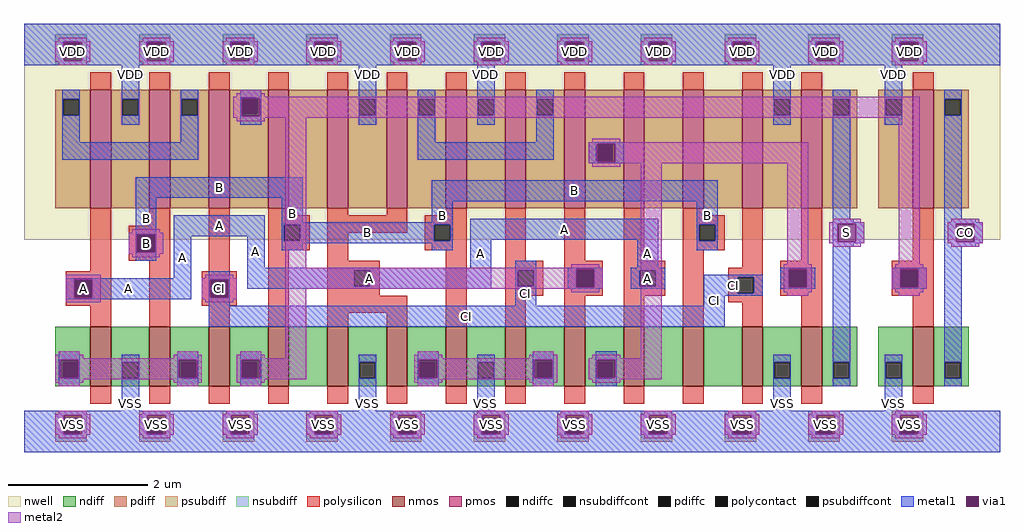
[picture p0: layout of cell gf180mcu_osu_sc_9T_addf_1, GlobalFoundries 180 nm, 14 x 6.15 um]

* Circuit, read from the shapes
.subckt gf180mcu_osu_sc_9T_addf_1 A B CI S CO VDD VSS
XM1 VSS A n1 VSS nfet_03v3 w=0.85u l=0.3u
XM2 n1 B VSS VSS nfet_03v3 w=0.85u l=0.3u
XM3 n2 CI n1 VSS nfet_03v3 w=0.85u l=0.3u
XM4 n3 B n2 VSS nfet_03v3 w=0.85u l=0.3u
XM5 VSS A n3 VSS nfet_03v3 w=0.85u l=0.3u
XM6 n4 A VSS VSS nfet_03v3 w=0.85u l=0.3u
XM7 VSS B n4 VSS nfet_03v3 w=0.85u l=0.3u
XM8 n4 CI VSS VSS nfet_03v3 w=0.85u l=0.3u
XM9 n5 n2 n4 VSS nfet_03v3 w=0.85u l=0.3u
XM10 n6 A n5 VSS nfet_03v3 w=0.85u l=0.3u
XM11 n7 B n6 VSS nfet_03v3 w=0.85u l=0.3u
XM12 VSS CI n7 VSS nfet_03v3 w=0.85u l=0.3u
XM13 S n5 VSS VSS nfet_03v3 w=0.85u l=0.3u
XM14 CO n2 VSS VSS nfet_03v3 w=0.85u l=0.3u
XM15 VDD A n8 VDD pfet_03v3 w=1.7u l=0.3u
XM16 n8 B VDD VDD pfet_03v3 w=1.7u l=0.3u
XM17 n2 CI n8 VDD pfet_03v3 w=1.7u l=0.3u
XM18 n9 B n2 VDD pfet_03v3 w=1.7u l=0.3u
XM19 VDD A n9 VDD pfet_03v3 w=1.7u l=0.3u
XM20 n10 A VDD VDD pfet_03v3 w=1.7u l=0.3u
XM21 VDD B n10 VDD pfet_03v3 w=1.7u l=0.3u
XM22 n10 CI VDD VDD pfet_03v3 w=1.7u l=0.3u
XM23 n5 n2 n10 VDD pfet_03v3 w=1.7u l=0.3u
XM24 n11 A n5 VDD pfet_03v3 w=1.7u l=0.3u
XM25 n12 B n11 VDD pfet_03v3 w=1.7u l=0.3u
XM26 VDD CI n12 VDD pfet_03v3 w=1.7u l=0.3u
XM27 S n5 VDD VDD pfet_03v3 w=1.7u l=0.3u
XM28 CO n2 VDD VDD pfet_03v3 w=1.7u l=0.3u
.ends

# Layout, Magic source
magic
tech gf180mcuB
magscale 1 10
<< nwell >>
rect 0 610 2800 1230
<< nmos >>
rect 190 190 250 360
rect 360 190 420 360
rect 530 190 590 360
rect 700 190 760 360
rect 870 190 930 360
rect 1040 190 1100 360
rect 1210 190 1270 360
rect 1380 190 1440 360
rect 1550 190 1610 360
rect 1720 190 1780 360
rect 1890 190 1950 360
rect 2060 190 2120 360
rect 2230 190 2290 360
rect 2550 190 2610 360
<< pmos >>
rect 190 700 250 1040
rect 360 700 420 1040
rect 530 700 590 1040
rect 700 700 760 1040
rect 870 700 930 1040
rect 1040 700 1100 1040
rect 1210 700 1270 1040
rect 1380 700 1440 1040
rect 1550 700 1610 1040
rect 1720 700 1780 1040
rect 1890 700 1950 1040
rect 2060 700 2120 1040
rect 2230 700 2290 1040
rect 2550 700 2610 1040
<< ndiff >>
rect 90 258 190 360
rect 90 212 112 258
rect 158 212 190 258
rect 90 190 190 212
rect 250 258 360 360
rect 250 212 282 258
rect 328 212 360 258
rect 250 190 360 212
rect 420 258 530 360
rect 420 212 452 258
rect 498 212 530 258
rect 420 190 530 212
rect 590 258 700 360
rect 590 212 622 258
rect 668 212 700 258
rect 590 190 700 212
rect 760 190 870 360
rect 930 258 1040 360
rect 930 212 962 258
rect 1008 212 1040 258
rect 930 190 1040 212
rect 1100 258 1210 360
rect 1100 212 1132 258
rect 1178 212 1210 258
rect 1100 190 1210 212
rect 1270 258 1380 360
rect 1270 212 1302 258
rect 1348 212 1380 258
rect 1270 190 1380 212
rect 1440 258 1550 360
rect 1440 212 1472 258
rect 1518 212 1550 258
rect 1440 190 1550 212
rect 1610 258 1720 360
rect 1610 212 1642 258
rect 1688 212 1720 258
rect 1610 190 1720 212
rect 1780 190 1890 360
rect 1950 190 2060 360
rect 2120 258 2230 360
rect 2120 212 2152 258
rect 2198 212 2230 258
rect 2120 190 2230 212
rect 2290 258 2390 360
rect 2290 212 2322 258
rect 2368 212 2390 258
rect 2290 190 2390 212
rect 2450 258 2550 360
rect 2450 212 2472 258
rect 2518 212 2550 258
rect 2450 190 2550 212
rect 2610 258 2710 360
rect 2610 212 2642 258
rect 2688 212 2710 258
rect 2610 190 2710 212
<< pdiff >>
rect 90 1013 190 1040
rect 90 967 112 1013
rect 158 967 190 1013
rect 90 700 190 967
rect 250 1013 360 1040
rect 250 967 282 1013
rect 328 967 360 1013
rect 250 700 360 967
rect 420 1013 530 1040
rect 420 967 452 1013
rect 498 967 530 1013
rect 420 700 530 967
rect 590 1018 700 1040
rect 590 972 622 1018
rect 668 972 700 1018
rect 590 700 700 972
rect 760 700 870 1040
rect 930 1013 1040 1040
rect 930 967 962 1013
rect 1008 967 1040 1013
rect 930 700 1040 967
rect 1100 1013 1210 1040
rect 1100 967 1132 1013
rect 1178 967 1210 1013
rect 1100 700 1210 967
rect 1270 1013 1380 1040
rect 1270 967 1302 1013
rect 1348 967 1380 1013
rect 1270 700 1380 967
rect 1440 1013 1550 1040
rect 1440 967 1472 1013
rect 1518 967 1550 1013
rect 1440 700 1550 967
rect 1610 883 1720 1040
rect 1610 837 1642 883
rect 1688 837 1720 883
rect 1610 700 1720 837
rect 1780 700 1890 1040
rect 1950 700 2060 1040
rect 2120 1013 2230 1040
rect 2120 967 2152 1013
rect 2198 967 2230 1013
rect 2120 700 2230 967
rect 2290 1013 2390 1040
rect 2290 967 2322 1013
rect 2368 967 2390 1013
rect 2290 700 2390 967
rect 2450 1013 2550 1040
rect 2450 967 2472 1013
rect 2518 967 2550 1013
rect 2450 700 2550 967
rect 2610 1013 2710 1040
rect 2610 967 2642 1013
rect 2688 967 2710 1013
rect 2610 700 2710 967
<< ndiffc >>
rect 112 212 158 258
rect 282 212 328 258
rect 452 212 498 258
rect 622 212 668 258
rect 962 212 1008 258
rect 1132 212 1178 258
rect 1302 212 1348 258
rect 1472 212 1518 258
rect 1642 212 1688 258
rect 2152 212 2198 258
rect 2322 212 2368 258
rect 2472 212 2518 258
rect 2642 212 2688 258
<< pdiffc >>
rect 112 967 158 1013
rect 282 967 328 1013
rect 452 967 498 1013
rect 622 972 668 1018
rect 962 967 1008 1013
rect 1132 967 1178 1013
rect 1302 967 1348 1013
rect 1472 967 1518 1013
rect 1642 837 1688 883
rect 2152 967 2198 1013
rect 2322 967 2368 1013
rect 2472 967 2518 1013
rect 2642 967 2688 1013
<< psubdiff >>
rect 90 98 180 120
rect 90 52 112 98
rect 158 52 180 98
rect 90 30 180 52
rect 330 98 420 120
rect 330 52 352 98
rect 398 52 420 98
rect 330 30 420 52
rect 570 98 660 120
rect 570 52 592 98
rect 638 52 660 98
rect 570 30 660 52
rect 810 98 900 120
rect 810 52 832 98
rect 878 52 900 98
rect 810 30 900 52
rect 1050 98 1140 120
rect 1050 52 1072 98
rect 1118 52 1140 98
rect 1050 30 1140 52
rect 1290 98 1380 120
rect 1290 52 1312 98
rect 1358 52 1380 98
rect 1290 30 1380 52
rect 1530 98 1620 120
rect 1530 52 1552 98
rect 1598 52 1620 98
rect 1530 30 1620 52
rect 1770 98 1860 120
rect 1770 52 1792 98
rect 1838 52 1860 98
rect 1770 30 1860 52
rect 2010 98 2100 120
rect 2010 52 2032 98
rect 2078 52 2100 98
rect 2010 30 2100 52
rect 2250 98 2340 120
rect 2250 52 2272 98
rect 2318 52 2340 98
rect 2250 30 2340 52
rect 2490 98 2580 120
rect 2490 52 2512 98
rect 2558 52 2580 98
rect 2490 30 2580 52
<< nsubdiff >>
rect 90 1178 180 1200
rect 90 1132 112 1178
rect 158 1132 180 1178
rect 90 1110 180 1132
rect 330 1178 420 1200
rect 330 1132 352 1178
rect 398 1132 420 1178
rect 330 1110 420 1132
rect 570 1178 660 1200
rect 570 1132 592 1178
rect 638 1132 660 1178
rect 570 1110 660 1132
rect 810 1178 900 1200
rect 810 1132 832 1178
rect 878 1132 900 1178
rect 810 1110 900 1132
rect 1050 1178 1140 1200
rect 1050 1132 1072 1178
rect 1118 1132 1140 1178
rect 1050 1110 1140 1132
rect 1290 1178 1380 1200
rect 1290 1132 1312 1178
rect 1358 1132 1380 1178
rect 1290 1110 1380 1132
rect 1530 1178 1620 1200
rect 1530 1132 1552 1178
rect 1598 1132 1620 1178
rect 1530 1110 1620 1132
rect 1770 1178 1860 1200
rect 1770 1132 1792 1178
rect 1838 1132 1860 1178
rect 1770 1110 1860 1132
rect 2010 1178 2100 1200
rect 2010 1132 2032 1178
rect 2078 1132 2100 1178
rect 2010 1110 2100 1132
rect 2250 1178 2340 1200
rect 2250 1132 2272 1178
rect 2318 1132 2340 1178
rect 2250 1110 2340 1132
rect 2490 1178 2580 1200
rect 2490 1132 2512 1178
rect 2558 1132 2580 1178
rect 2490 1110 2580 1132
<< psubdiffcont >>
rect 112 52 158 98
rect 352 52 398 98
rect 592 52 638 98
rect 832 52 878 98
rect 1072 52 1118 98
rect 1312 52 1358 98
rect 1552 52 1598 98
rect 1792 52 1838 98
rect 2032 52 2078 98
rect 2272 52 2318 98
rect 2512 52 2558 98
<< nsubdiffcont >>
rect 112 1132 158 1178
rect 352 1132 398 1178
rect 592 1132 638 1178
rect 832 1132 878 1178
rect 1072 1132 1118 1178
rect 1312 1132 1358 1178
rect 1552 1132 1598 1178
rect 1792 1132 1838 1178
rect 2032 1132 2078 1178
rect 2272 1132 2318 1178
rect 2512 1132 2558 1178
<< polysilicon >>
rect 190 1040 250 1090
rect 360 1040 420 1090
rect 530 1040 590 1090
rect 700 1040 760 1090
rect 870 1040 930 1090
rect 1040 1040 1100 1090
rect 1210 1040 1270 1090
rect 1380 1040 1440 1090
rect 1550 1040 1610 1090
rect 1720 1040 1780 1090
rect 1890 1040 1950 1090
rect 2060 1040 2120 1090
rect 2230 1040 2290 1090
rect 2550 1040 2610 1090
rect 190 520 250 700
rect 360 650 420 700
rect 300 623 420 650
rect 300 577 327 623
rect 373 577 420 623
rect 300 550 420 577
rect 120 493 250 520
rect 120 447 147 493
rect 193 447 250 493
rect 120 420 250 447
rect 190 360 250 420
rect 360 360 420 550
rect 530 520 590 700
rect 700 680 760 700
rect 870 680 930 700
rect 1040 680 1100 700
rect 1210 680 1270 700
rect 700 653 820 680
rect 700 607 747 653
rect 793 607 820 653
rect 700 580 820 607
rect 870 630 1100 680
rect 1150 653 1270 680
rect 510 493 610 520
rect 510 447 537 493
rect 583 447 610 493
rect 510 420 610 447
rect 530 360 590 420
rect 700 360 760 580
rect 870 550 930 630
rect 1150 607 1177 653
rect 1223 607 1270 653
rect 1150 580 1270 607
rect 870 523 1020 550
rect 870 477 947 523
rect 993 477 1020 523
rect 870 450 1020 477
rect 870 400 1100 450
rect 870 360 930 400
rect 1040 360 1100 400
rect 1210 360 1270 580
rect 1380 550 1440 700
rect 1550 550 1610 700
rect 1720 550 1780 700
rect 1890 680 1950 700
rect 1890 653 2010 680
rect 1890 607 1937 653
rect 1983 607 2010 653
rect 1890 580 2010 607
rect 1380 523 1490 550
rect 1380 477 1417 523
rect 1463 477 1490 523
rect 1380 450 1490 477
rect 1550 523 1660 550
rect 1550 477 1587 523
rect 1633 477 1660 523
rect 1550 450 1660 477
rect 1720 523 1840 550
rect 1720 477 1767 523
rect 1813 477 1840 523
rect 1720 450 1840 477
rect 1380 360 1440 450
rect 1550 360 1610 450
rect 1720 360 1780 450
rect 1890 360 1950 580
rect 2060 530 2120 700
rect 2230 550 2290 700
rect 2550 550 2610 700
rect 2020 503 2120 530
rect 2020 457 2047 503
rect 2093 457 2120 503
rect 2020 430 2120 457
rect 2170 523 2290 550
rect 2170 477 2197 523
rect 2243 477 2290 523
rect 2170 450 2290 477
rect 2490 523 2610 550
rect 2490 477 2517 523
rect 2563 477 2610 523
rect 2490 450 2610 477
rect 2060 360 2120 430
rect 2230 360 2290 450
rect 2550 360 2610 450
rect 190 140 250 190
rect 360 140 420 190
rect 530 140 590 190
rect 700 140 760 190
rect 870 140 930 190
rect 1040 140 1100 190
rect 1210 140 1270 190
rect 1380 140 1440 190
rect 1550 140 1610 190
rect 1720 140 1780 190
rect 1890 140 1950 190
rect 2060 140 2120 190
rect 2230 140 2290 190
rect 2550 140 2610 190
<< polycontact >>
rect 327 577 373 623
rect 147 447 193 493
rect 747 607 793 653
rect 537 447 583 493
rect 1177 607 1223 653
rect 947 477 993 523
rect 1937 607 1983 653
rect 1417 477 1463 523
rect 1587 477 1633 523
rect 1767 477 1813 523
rect 2047 457 2093 503
rect 2197 477 2243 523
rect 2517 477 2563 523
<< metal1 >>
rect 0 1178 2800 1230
rect 0 1132 112 1178
rect 158 1176 352 1178
rect 398 1176 592 1178
rect 638 1176 832 1178
rect 878 1176 1072 1178
rect 1118 1176 1312 1178
rect 1358 1176 1552 1178
rect 1598 1176 1792 1178
rect 1838 1176 2032 1178
rect 2078 1176 2272 1178
rect 2318 1176 2512 1178
rect 2558 1176 2800 1178
rect 166 1132 352 1176
rect 406 1132 592 1176
rect 646 1132 832 1176
rect 886 1132 1072 1176
rect 1126 1132 1312 1176
rect 1366 1132 1552 1176
rect 1606 1132 1792 1176
rect 1846 1132 2032 1176
rect 2086 1132 2272 1176
rect 2326 1132 2512 1176
rect 0 1124 114 1132
rect 166 1124 354 1132
rect 406 1124 594 1132
rect 646 1124 834 1132
rect 886 1124 1074 1132
rect 1126 1124 1314 1132
rect 1366 1124 1554 1132
rect 1606 1124 1794 1132
rect 1846 1124 2034 1132
rect 2086 1124 2274 1132
rect 2326 1124 2514 1132
rect 2566 1124 2800 1176
rect 0 1110 2800 1124
rect 110 1013 160 1040
rect 110 967 112 1013
rect 158 967 160 1013
rect 110 890 160 967
rect 280 1013 330 1110
rect 280 967 282 1013
rect 328 967 330 1013
rect 280 940 330 967
rect 450 1013 500 1040
rect 450 967 452 1013
rect 498 967 500 1013
rect 450 890 500 967
rect 620 1018 680 1040
rect 620 972 622 1018
rect 668 1016 680 1018
rect 620 964 624 972
rect 676 964 680 1016
rect 620 940 680 964
rect 960 1013 1010 1110
rect 960 967 962 1013
rect 1008 967 1010 1013
rect 960 940 1010 967
rect 1130 1013 1180 1040
rect 1130 967 1132 1013
rect 1178 967 1180 1013
rect 110 840 500 890
rect 1130 890 1180 967
rect 1300 1013 1350 1110
rect 1300 967 1302 1013
rect 1348 967 1350 1013
rect 1300 940 1350 967
rect 1470 1013 1520 1040
rect 1470 967 1472 1013
rect 1518 967 1520 1013
rect 1470 890 1520 967
rect 2150 1013 2200 1110
rect 2150 967 2152 1013
rect 2198 967 2200 1013
rect 2150 940 2200 967
rect 2320 1013 2370 1040
rect 2320 967 2322 1013
rect 2368 967 2370 1013
rect 1130 840 1520 890
rect 1620 886 1720 890
rect 1620 883 1644 886
rect 1620 837 1642 883
rect 1620 834 1644 837
rect 1696 834 1720 886
rect 1620 830 1720 834
rect 320 730 800 790
rect 320 626 380 730
rect 320 574 324 626
rect 376 574 380 626
rect 320 550 380 574
rect 430 620 690 680
rect 430 500 480 620
rect 640 530 690 620
rect 740 660 800 730
rect 1170 720 1990 780
rect 1170 660 1230 720
rect 740 653 1230 660
rect 740 607 747 653
rect 793 607 1177 653
rect 1223 607 1230 653
rect 740 600 1230 607
rect 740 580 800 600
rect 1170 580 1230 600
rect 1280 610 1820 670
rect 1280 530 1340 610
rect 640 523 1340 530
rect 120 496 480 500
rect 120 444 144 496
rect 196 444 480 496
rect 120 440 480 444
rect 530 496 590 520
rect 530 444 534 496
rect 586 444 590 496
rect 640 477 947 523
rect 993 477 1340 523
rect 640 470 1340 477
rect 1410 523 1470 550
rect 1760 530 1820 610
rect 1930 653 1990 720
rect 1930 607 1937 653
rect 1983 607 1990 653
rect 1930 580 1990 607
rect 2320 670 2370 967
rect 2470 1013 2520 1110
rect 2470 967 2472 1013
rect 2518 967 2520 1013
rect 2470 940 2520 967
rect 2640 1013 2690 1040
rect 2640 967 2642 1013
rect 2688 967 2690 1013
rect 2640 670 2690 967
rect 2320 660 2380 670
rect 2640 660 2730 670
rect 2320 656 2410 660
rect 2320 604 2334 656
rect 2386 604 2410 656
rect 2320 600 2410 604
rect 2640 656 2750 660
rect 2640 604 2674 656
rect 2726 604 2750 656
rect 2640 600 2750 604
rect 2320 590 2380 600
rect 2640 590 2730 600
rect 1410 477 1417 523
rect 1463 477 1470 523
rect 530 420 590 444
rect 1410 420 1470 477
rect 1560 526 1660 530
rect 1560 474 1584 526
rect 1636 474 1660 526
rect 1560 470 1660 474
rect 1740 523 1840 530
rect 1740 477 1767 523
rect 1813 477 1840 523
rect 2170 526 2270 530
rect 1740 470 1840 477
rect 1950 503 2120 510
rect 1950 457 2047 503
rect 2093 457 2120 503
rect 2170 474 2194 526
rect 2246 474 2270 526
rect 2170 470 2270 474
rect 1950 450 2120 457
rect 1950 420 2010 450
rect 530 360 2010 420
rect 100 266 160 290
rect 100 214 104 266
rect 156 258 160 266
rect 100 212 112 214
rect 158 212 160 258
rect 100 190 160 212
rect 280 258 330 280
rect 280 212 282 258
rect 328 212 330 258
rect 280 120 330 212
rect 440 266 500 290
rect 440 214 444 266
rect 496 258 500 266
rect 440 212 452 214
rect 498 212 500 258
rect 440 190 500 212
rect 620 266 680 290
rect 620 258 624 266
rect 620 212 622 258
rect 676 214 680 266
rect 668 212 680 214
rect 620 190 680 212
rect 960 258 1010 280
rect 960 212 962 258
rect 1008 212 1010 258
rect 960 120 1010 212
rect 1130 266 1190 290
rect 1130 258 1134 266
rect 1130 212 1132 258
rect 1186 214 1190 266
rect 1178 212 1190 214
rect 1130 190 1190 212
rect 1300 258 1350 280
rect 1300 212 1302 258
rect 1348 212 1350 258
rect 1300 120 1350 212
rect 1460 266 1520 290
rect 1460 214 1464 266
rect 1516 258 1520 266
rect 1460 212 1472 214
rect 1518 212 1520 258
rect 1460 190 1520 212
rect 1640 266 1700 290
rect 1640 258 1644 266
rect 1640 212 1642 258
rect 1696 214 1700 266
rect 1688 212 1700 214
rect 1640 190 1700 212
rect 2150 258 2200 280
rect 2150 212 2152 258
rect 2198 212 2200 258
rect 2150 120 2200 212
rect 2320 258 2370 590
rect 2490 526 2590 530
rect 2490 474 2514 526
rect 2566 474 2590 526
rect 2490 470 2590 474
rect 2320 212 2322 258
rect 2368 212 2370 258
rect 2320 190 2370 212
rect 2470 258 2520 280
rect 2470 212 2472 258
rect 2518 212 2520 258
rect 2470 120 2520 212
rect 2640 258 2690 590
rect 2640 212 2642 258
rect 2688 212 2690 258
rect 2640 190 2690 212
rect 0 106 2800 120
rect 0 98 114 106
rect 166 98 354 106
rect 406 98 594 106
rect 646 98 834 106
rect 886 98 1074 106
rect 1126 98 1314 106
rect 1366 98 1554 106
rect 1606 98 1794 106
rect 1846 98 2034 106
rect 2086 98 2274 106
rect 2326 98 2514 106
rect 0 52 112 98
rect 166 54 352 98
rect 406 54 592 98
rect 646 54 832 98
rect 886 54 1072 98
rect 1126 54 1312 98
rect 1366 54 1552 98
rect 1606 54 1792 98
rect 1846 54 2032 98
rect 2086 54 2272 98
rect 2326 54 2512 98
rect 2566 54 2800 106
rect 158 52 352 54
rect 398 52 592 54
rect 638 52 832 54
rect 878 52 1072 54
rect 1118 52 1312 54
rect 1358 52 1552 54
rect 1598 52 1792 54
rect 1838 52 2032 54
rect 2078 52 2272 54
rect 2318 52 2512 54
rect 2558 52 2800 54
rect 0 0 2800 52
<< via1 >>
rect 114 1132 158 1176
rect 158 1132 166 1176
rect 354 1132 398 1176
rect 398 1132 406 1176
rect 594 1132 638 1176
rect 638 1132 646 1176
rect 834 1132 878 1176
rect 878 1132 886 1176
rect 1074 1132 1118 1176
rect 1118 1132 1126 1176
rect 1314 1132 1358 1176
rect 1358 1132 1366 1176
rect 1554 1132 1598 1176
rect 1598 1132 1606 1176
rect 1794 1132 1838 1176
rect 1838 1132 1846 1176
rect 2034 1132 2078 1176
rect 2078 1132 2086 1176
rect 2274 1132 2318 1176
rect 2318 1132 2326 1176
rect 2514 1132 2558 1176
rect 2558 1132 2566 1176
rect 114 1124 166 1132
rect 354 1124 406 1132
rect 594 1124 646 1132
rect 834 1124 886 1132
rect 1074 1124 1126 1132
rect 1314 1124 1366 1132
rect 1554 1124 1606 1132
rect 1794 1124 1846 1132
rect 2034 1124 2086 1132
rect 2274 1124 2326 1132
rect 2514 1124 2566 1132
rect 624 972 668 1016
rect 668 972 676 1016
rect 624 964 676 972
rect 1644 883 1696 886
rect 1644 837 1688 883
rect 1688 837 1696 883
rect 1644 834 1696 837
rect 324 623 376 626
rect 324 577 327 623
rect 327 577 373 623
rect 373 577 376 623
rect 324 574 376 577
rect 144 493 196 496
rect 144 447 147 493
rect 147 447 193 493
rect 193 447 196 493
rect 144 444 196 447
rect 534 493 586 496
rect 534 447 537 493
rect 537 447 583 493
rect 583 447 586 493
rect 534 444 586 447
rect 2334 604 2386 656
rect 2674 604 2726 656
rect 1584 523 1636 526
rect 1584 477 1587 523
rect 1587 477 1633 523
rect 1633 477 1636 523
rect 1584 474 1636 477
rect 2194 523 2246 526
rect 2194 477 2197 523
rect 2197 477 2243 523
rect 2243 477 2246 523
rect 2194 474 2246 477
rect 104 258 156 266
rect 104 214 112 258
rect 112 214 156 258
rect 444 258 496 266
rect 444 214 452 258
rect 452 214 496 258
rect 624 258 676 266
rect 624 214 668 258
rect 668 214 676 258
rect 1134 258 1186 266
rect 1134 214 1178 258
rect 1178 214 1186 258
rect 1464 258 1516 266
rect 1464 214 1472 258
rect 1472 214 1516 258
rect 1644 258 1696 266
rect 1644 214 1688 258
rect 1688 214 1696 258
rect 2514 523 2566 526
rect 2514 477 2517 523
rect 2517 477 2563 523
rect 2563 477 2566 523
rect 2514 474 2566 477
rect 114 98 166 106
rect 354 98 406 106
rect 594 98 646 106
rect 834 98 886 106
rect 1074 98 1126 106
rect 1314 98 1366 106
rect 1554 98 1606 106
rect 1794 98 1846 106
rect 2034 98 2086 106
rect 2274 98 2326 106
rect 2514 98 2566 106
rect 114 54 158 98
rect 158 54 166 98
rect 354 54 398 98
rect 398 54 406 98
rect 594 54 638 98
rect 638 54 646 98
rect 834 54 878 98
rect 878 54 886 98
rect 1074 54 1118 98
rect 1118 54 1126 98
rect 1314 54 1358 98
rect 1358 54 1366 98
rect 1554 54 1598 98
rect 1598 54 1606 98
rect 1794 54 1838 98
rect 1838 54 1846 98
rect 2034 54 2078 98
rect 2078 54 2086 98
rect 2274 54 2318 98
rect 2318 54 2326 98
rect 2514 54 2558 98
rect 2558 54 2566 98
<< metal2 >>
rect 100 1180 180 1190
rect 340 1180 420 1190
rect 580 1180 660 1190
rect 820 1180 900 1190
rect 1060 1180 1140 1190
rect 1300 1180 1380 1190
rect 1540 1180 1620 1190
rect 1780 1180 1860 1190
rect 2020 1180 2100 1190
rect 2260 1180 2340 1190
rect 2500 1180 2580 1190
rect 90 1176 190 1180
rect 90 1124 114 1176
rect 166 1124 190 1176
rect 90 1120 190 1124
rect 330 1176 430 1180
rect 330 1124 354 1176
rect 406 1124 430 1176
rect 330 1120 430 1124
rect 570 1176 670 1180
rect 570 1124 594 1176
rect 646 1124 670 1176
rect 570 1120 670 1124
rect 810 1176 910 1180
rect 810 1124 834 1176
rect 886 1124 910 1176
rect 810 1120 910 1124
rect 1050 1176 1150 1180
rect 1050 1124 1074 1176
rect 1126 1124 1150 1176
rect 1050 1120 1150 1124
rect 1290 1176 1390 1180
rect 1290 1124 1314 1176
rect 1366 1124 1390 1176
rect 1290 1120 1390 1124
rect 1530 1176 1630 1180
rect 1530 1124 1554 1176
rect 1606 1124 1630 1176
rect 1530 1120 1630 1124
rect 1770 1176 1870 1180
rect 1770 1124 1794 1176
rect 1846 1124 1870 1176
rect 1770 1120 1870 1124
rect 2010 1176 2110 1180
rect 2010 1124 2034 1176
rect 2086 1124 2110 1176
rect 2010 1120 2110 1124
rect 2250 1176 2350 1180
rect 2250 1124 2274 1176
rect 2326 1124 2350 1176
rect 2250 1120 2350 1124
rect 2490 1176 2590 1180
rect 2490 1124 2514 1176
rect 2566 1124 2590 1176
rect 2490 1120 2590 1124
rect 100 1110 180 1120
rect 340 1110 420 1120
rect 580 1110 660 1120
rect 820 1110 900 1120
rect 1060 1110 1140 1120
rect 1300 1110 1380 1120
rect 1540 1110 1620 1120
rect 1780 1110 1860 1120
rect 2020 1110 2100 1120
rect 2260 1110 2340 1120
rect 2500 1110 2580 1120
rect 620 1030 680 1040
rect 610 1020 690 1030
rect 600 1016 2570 1020
rect 600 964 624 1016
rect 676 964 2570 1016
rect 600 960 2570 964
rect 610 950 690 960
rect 310 630 390 640
rect 300 626 400 630
rect 300 574 324 626
rect 376 574 400 626
rect 300 570 400 574
rect 310 560 390 570
rect 750 530 810 960
rect 1630 890 1710 900
rect 1620 886 2250 890
rect 1620 834 1644 886
rect 1696 834 2250 886
rect 1620 830 2250 834
rect 1630 820 1710 830
rect 1570 530 1650 540
rect 750 526 1660 530
rect 120 496 220 510
rect 520 500 600 510
rect 120 444 144 496
rect 196 444 220 496
rect 120 430 220 444
rect 510 496 610 500
rect 510 444 534 496
rect 586 444 610 496
rect 510 440 610 444
rect 750 474 1584 526
rect 1636 474 1660 526
rect 750 470 1660 474
rect 520 430 600 440
rect 100 280 160 290
rect 440 280 500 290
rect 620 280 680 290
rect 90 270 170 280
rect 430 270 510 280
rect 90 266 510 270
rect 90 214 104 266
rect 156 214 444 266
rect 496 214 510 266
rect 90 210 510 214
rect 90 200 170 210
rect 430 200 510 210
rect 610 270 690 280
rect 750 270 810 470
rect 1570 460 1650 470
rect 1130 280 1190 290
rect 1460 280 1520 290
rect 610 266 810 270
rect 610 214 624 266
rect 676 214 810 266
rect 610 210 810 214
rect 1120 270 1200 280
rect 1450 270 1530 280
rect 1630 270 1710 280
rect 1770 270 1830 830
rect 2190 540 2250 830
rect 2320 660 2400 670
rect 2310 656 2410 660
rect 2310 604 2334 656
rect 2386 604 2410 656
rect 2310 600 2410 604
rect 2320 590 2400 600
rect 2510 540 2570 960
rect 2660 660 2740 670
rect 2650 656 2750 660
rect 2650 604 2674 656
rect 2726 604 2750 656
rect 2650 600 2750 604
rect 2660 590 2740 600
rect 2180 526 2260 540
rect 2500 530 2580 540
rect 2180 474 2194 526
rect 2246 474 2260 526
rect 2180 460 2260 474
rect 2490 526 2590 530
rect 2490 474 2514 526
rect 2566 474 2590 526
rect 2490 470 2590 474
rect 2500 460 2580 470
rect 2190 450 2250 460
rect 2510 450 2570 460
rect 1120 266 1530 270
rect 1120 214 1134 266
rect 1186 214 1464 266
rect 1516 214 1530 266
rect 1120 210 1530 214
rect 1620 266 1830 270
rect 1620 214 1644 266
rect 1696 214 1830 266
rect 1620 210 1830 214
rect 610 200 690 210
rect 1120 200 1200 210
rect 1450 200 1530 210
rect 1630 200 1710 210
rect 100 190 160 200
rect 440 190 500 200
rect 620 190 680 200
rect 1130 190 1190 200
rect 1460 190 1520 200
rect 100 110 180 120
rect 340 110 420 120
rect 580 110 660 120
rect 820 110 900 120
rect 1060 110 1140 120
rect 1300 110 1380 120
rect 1540 110 1620 120
rect 1780 110 1860 120
rect 2020 110 2100 120
rect 2260 110 2340 120
rect 2500 110 2580 120
rect 90 106 190 110
rect 90 54 114 106
rect 166 54 190 106
rect 90 50 190 54
rect 330 106 430 110
rect 330 54 354 106
rect 406 54 430 106
rect 330 50 430 54
rect 570 106 670 110
rect 570 54 594 106
rect 646 54 670 106
rect 570 50 670 54
rect 810 106 910 110
rect 810 54 834 106
rect 886 54 910 106
rect 810 50 910 54
rect 1050 106 1150 110
rect 1050 54 1074 106
rect 1126 54 1150 106
rect 1050 50 1150 54
rect 1290 106 1390 110
rect 1290 54 1314 106
rect 1366 54 1390 106
rect 1290 50 1390 54
rect 1530 106 1630 110
rect 1530 54 1554 106
rect 1606 54 1630 106
rect 1530 50 1630 54
rect 1770 106 1870 110
rect 1770 54 1794 106
rect 1846 54 1870 106
rect 1770 50 1870 54
rect 2010 106 2110 110
rect 2010 54 2034 106
rect 2086 54 2110 106
rect 2010 50 2110 54
rect 2250 106 2350 110
rect 2250 54 2274 106
rect 2326 54 2350 106
rect 2250 50 2350 54
rect 2490 106 2590 110
rect 2490 54 2514 106
rect 2566 54 2590 106
rect 2490 50 2590 54
rect 100 40 180 50
rect 340 40 420 50
rect 580 40 660 50
rect 820 40 900 50
rect 1060 40 1140 50
rect 1300 40 1380 50
rect 1540 40 1620 50
rect 1780 40 1860 50
rect 2020 40 2100 50
rect 2260 40 2340 50
rect 2500 40 2580 50
<< labels >>
rlabel metal2 s 100 1110 180 1190 4 VDD
port 12 nsew power bidirectional abutment
rlabel metal2 s 100 40 180 120 4 VSS
port 13 nsew ground bidirectional
rlabel metal2 s 120 430 220 510 4 A
port 1 nsew signal input
rlabel metal2 s 310 560 390 640 4 B
port 2 nsew signal input
rlabel metal2 s 520 430 600 510 4 CI
port 3 nsew signal input
rlabel metal2 s 2320 590 2400 670 4 S
port 4 nsew signal output
rlabel metal2 s 2660 590 2740 670 4 CO
port 5 nsew signal output
rlabel metal1 s 120 440 480 500 1 A
port 1 nsew signal input
rlabel metal1 s 430 440 480 680 1 A
port 1 nsew signal input
rlabel metal1 s 640 470 690 680 1 A
port 1 nsew signal input
rlabel metal1 s 430 620 690 680 1 A
port 1 nsew signal input
rlabel metal1 s 640 470 1340 530 1 A
port 1 nsew signal input
rlabel metal1 s 1280 470 1340 670 1 A
port 1 nsew signal input
rlabel metal1 s 1760 470 1820 670 1 A
port 1 nsew signal input
rlabel metal1 s 1280 610 1820 670 1 A
port 1 nsew signal input
rlabel metal1 s 1740 470 1840 530 1 A
port 1 nsew signal input
rlabel metal2 s 300 570 400 630 1 B
port 2 nsew signal input
rlabel metal1 s 320 550 380 790 1 B
port 2 nsew signal input
rlabel metal1 s 740 580 800 790 1 B
port 2 nsew signal input
rlabel metal1 s 320 730 800 790 1 B
port 2 nsew signal input
rlabel metal1 s 740 600 1230 660 1 B
port 2 nsew signal input
rlabel metal1 s 1170 580 1230 780 1 B
port 2 nsew signal input
rlabel metal1 s 1930 580 1990 780 1 B
port 2 nsew signal input
rlabel metal1 s 1170 720 1990 780 1 B
port 2 nsew signal input
rlabel metal2 s 510 440 610 500 1 CI
port 3 nsew signal input
rlabel metal1 s 530 360 590 520 1 CI
port 3 nsew signal input
rlabel metal1 s 1410 360 1470 550 1 CI
port 3 nsew signal input
rlabel metal1 s 530 360 2010 420 1 CI
port 3 nsew signal input
rlabel metal1 s 1950 360 2010 510 1 CI
port 3 nsew signal input
rlabel metal1 s 1950 450 2120 510 1 CI
port 3 nsew signal input
rlabel metal2 s 2650 600 2750 660 1 CO
port 5 nsew signal output
rlabel metal1 s 2640 190 2690 1040 1 CO
port 5 nsew signal output
rlabel metal1 s 2640 590 2730 670 1 CO
port 5 nsew signal output
rlabel metal1 s 2640 600 2750 660 1 CO
port 5 nsew signal output
rlabel metal2 s 2310 600 2410 660 1 S
port 4 nsew signal output
rlabel metal1 s 2320 190 2370 1040 1 S
port 4 nsew signal output
rlabel metal1 s 2320 590 2380 670 1 S
port 4 nsew signal output
rlabel metal1 s 2320 600 2410 660 1 S
port 4 nsew signal output
rlabel metal2 s 90 1120 190 1180 1 VDD
port 12 nsew power bidirectional abutment
rlabel metal2 s 340 1110 420 1190 1 VDD
port 12 nsew power bidirectional abutment
rlabel metal2 s 330 1120 430 1180 1 VDD
port 12 nsew power bidirectional abutment
rlabel metal2 s 580 1110 660 1190 1 VDD
port 12 nsew power bidirectional abutment
rlabel metal2 s 570 1120 670 1180 1 VDD
port 12 nsew power bidirectional abutment
rlabel metal2 s 820 1110 900 1190 1 VDD
port 12 nsew power bidirectional abutment
rlabel metal2 s 810 1120 910 1180 1 VDD
port 12 nsew power bidirectional abutment
rlabel metal2 s 1060 1110 1140 1190 1 VDD
port 12 nsew power bidirectional abutment
rlabel metal2 s 1050 1120 1150 1180 1 VDD
port 12 nsew power bidirectional abutment
rlabel metal2 s 1300 1110 1380 1190 1 VDD
port 12 nsew power bidirectional abutment
rlabel metal2 s 1290 1120 1390 1180 1 VDD
port 12 nsew power bidirectional abutment
rlabel metal2 s 1540 1110 1620 1190 1 VDD
port 12 nsew power bidirectional abutment
rlabel metal2 s 1530 1120 1630 1180 1 VDD
port 12 nsew power bidirectional abutment
rlabel metal2 s 1780 1110 1860 1190 1 VDD
port 12 nsew power bidirectional abutment
rlabel metal2 s 1770 1120 1870 1180 1 VDD
port 12 nsew power bidirectional abutment
rlabel metal2 s 2020 1110 2100 1190 1 VDD
port 12 nsew power bidirectional abutment
rlabel metal2 s 2010 1120 2110 1180 1 VDD
port 12 nsew power bidirectional abutment
rlabel metal2 s 2260 1110 2340 1190 1 VDD
port 12 nsew power bidirectional abutment
rlabel metal2 s 2250 1120 2350 1180 1 VDD
port 12 nsew power bidirectional abutment
rlabel metal2 s 2500 1110 2580 1190 1 VDD
port 12 nsew power bidirectional abutment
rlabel metal2 s 2490 1120 2590 1180 1 VDD
port 12 nsew power bidirectional abutment
rlabel metal1 s 280 940 330 1230 1 VDD
port 12 nsew power bidirectional abutment
rlabel metal1 s 960 940 1010 1230 1 VDD
port 12 nsew power bidirectional abutment
rlabel metal1 s 1300 940 1350 1230 1 VDD
port 12 nsew power bidirectional abutment
rlabel metal1 s 2150 940 2200 1230 1 VDD
port 12 nsew power bidirectional abutment
rlabel metal1 s 2470 940 2520 1230 1 VDD
port 12 nsew power bidirectional abutment
rlabel metal1 s 0 1110 2800 1230 1 VDD
port 12 nsew power bidirectional abutment
rlabel metal2 s 90 50 190 110 1 VSS
port 13 nsew ground bidirectional
rlabel metal2 s 340 40 420 120 1 VSS
port 13 nsew ground bidirectional
rlabel metal2 s 330 50 430 110 1 VSS
port 13 nsew ground bidirectional
rlabel metal2 s 580 40 660 120 1 VSS
port 13 nsew ground bidirectional
rlabel metal2 s 570 50 670 110 1 VSS
port 13 nsew ground bidirectional
rlabel metal2 s 820 40 900 120 1 VSS
port 13 nsew ground bidirectional
rlabel metal2 s 810 50 910 110 1 VSS
port 13 nsew ground bidirectional
rlabel metal2 s 1060 40 1140 120 1 VSS
port 13 nsew ground bidirectional
rlabel metal2 s 1050 50 1150 110 1 VSS
port 13 nsew ground bidirectional
rlabel metal2 s 1300 40 1380 120 1 VSS
port 13 nsew ground bidirectional
rlabel metal2 s 1290 50 1390 110 1 VSS
port 13 nsew ground bidirectional
rlabel metal2 s 1540 40 1620 120 1 VSS
port 13 nsew ground bidirectional
rlabel metal2 s 1530 50 1630 110 1 VSS
port 13 nsew ground bidirectional
rlabel metal2 s 1780 40 1860 120 1 VSS
port 13 nsew ground bidirectional
rlabel metal2 s 1770 50 1870 110 1 VSS
port 13 nsew ground bidirectional
rlabel metal2 s 2020 40 2100 120 1 VSS
port 13 nsew ground bidirectional
rlabel metal2 s 2010 50 2110 110 1 VSS
port 13 nsew ground bidirectional
rlabel metal2 s 2260 40 2340 120 1 VSS
port 13 nsew ground bidirectional
rlabel metal2 s 2250 50 2350 110 1 VSS
port 13 nsew ground bidirectional
rlabel metal2 s 2500 40 2580 120 1 VSS
port 13 nsew ground bidirectional
rlabel metal2 s 2490 50 2590 110 1 VSS
port 13 nsew ground bidirectional
rlabel metal1 s 280 0 330 280 1 VSS
port 13 nsew ground bidirectional
rlabel metal1 s 960 0 1010 280 1 VSS
port 13 nsew ground bidirectional
rlabel metal1 s 1300 0 1350 280 1 VSS
port 13 nsew ground bidirectional
rlabel metal1 s 2150 0 2200 280 1 VSS
port 13 nsew ground bidirectional
rlabel metal1 s 2470 0 2520 280 1 VSS
port 13 nsew ground bidirectional
rlabel metal1 s 0 0 2800 120 1 VSS
port 13 nsew ground bidirectional
<< properties >>
string FIXED_BBOX 0 0 2800 1230
string GDS_END 26072
string GDS_FILE $PDKPATH/libs.ref/gf180mcu_osu_sc_9T/gds/gf180mcu_osu_sc_9T.gds
string GDS_START 134
string LEFclass CORE
string LEFsite GF018hv5v_mcu_sc7
string LEFsymmetry X Y
<< end >>
